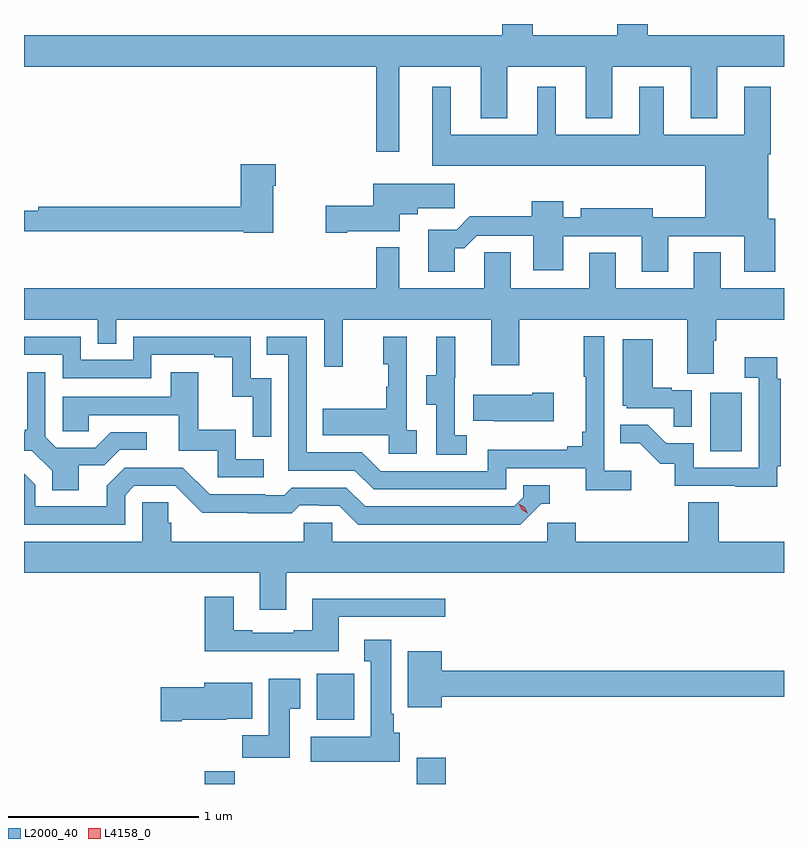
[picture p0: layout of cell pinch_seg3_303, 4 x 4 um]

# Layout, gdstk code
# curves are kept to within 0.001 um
import gdstk
lib = gdstk.Library(unit=1e-6, precision=1e-09)
def R(c, l, rs):  # rectangles x0, y0, x1, y1
    for r in rs: c.add(gdstk.rectangle(r[:2], r[2:], *l))
def P(c, l, *ps):  # polygons
    for p in ps: c.add(gdstk.Polygon(p, *l))
L2000_40 = (2000, 40)
L4158_0 = (4158, 0)

pinch_seg3_303 = lib.new_cell('pinch_seg3_303')
R(pinch_seg3_303, L2000_40, [(953.021,710.46,953.177,710.528), (954.137,710.46,954.29,710.599), (953.609,710.798,953.806,711.04), (955.682,712.212,955.846,712.519)])
P(pinch_seg3_303, L2000_40, [(954.043,714.236),(954.473,714.236),(954.473,713.963),(954.613,713.963),(954.613,714.236),(955.025,714.236),(955.025,713.963),(955.165,713.963),(955.165,714.236),(955.577,714.236),(955.577,713.963),(955.717,713.963),(955.717,714.236),(956.069,714.236),(956.069,714.4),(955.352,714.4),(955.352,714.46),(955.192,714.46),(955.192,714.4),(954.747,714.4),(954.747,714.46),(954.587,714.46),(954.587,714.4),(952.069,714.4),(952.069,714.236),(953.922,714.236),(953.922,713.787),(954.043,713.787)],
  [(954.337,713.279),(954.386,713.279),(954.453,713.346),(954.749,713.346),(954.749,713.165),(954.907,713.165),(954.907,713.343),(955.319,713.342),(955.319,713.157),(955.459,713.157),(955.459,713.343),(955.859,713.343),(955.859,713.157),(956.024,713.157),(956.024,713.436),(955.987,713.436),(955.987,713.774),(956,713.774),(956,714.13),(955.859,714.13),(955.859,713.878),(955.435,713.878),(955.435,714.13),(955.307,714.13),(955.307,713.878),(954.868,713.878),(954.868,714.13),(954.77,714.13),(954.77,713.878),(954.316,713.878),(954.316,714.13),(954.218,714.13),(954.218,713.714),(955.655,713.714),(955.655,713.444),(955.378,713.444),(955.378,713.491),(954.998,713.491),(954.998,713.444),(954.907,713.444),(954.907,713.527),(954.742,713.527),(954.742,713.447),(954.416,713.447),(954.346,713.377),(954.197,713.377),(954.197,713.157),(954.337,713.157)],
  [(953.38,713.609),(953.393,713.609),(953.393,713.722),(953.21,713.722),(953.21,713.498),(952.144,713.498),(952.144,713.478),(952.069,713.478),(952.069,713.37),(953.226,713.37),(953.226,713.362),(953.38,713.362)],
  [(953.77,713.369),(954.046,713.369),(954.046,713.459),(954.142,713.459),(954.142,713.491),(954.337,713.491),(954.337,713.62),(953.906,713.62),(953.906,713.504),(953.658,713.504),(953.658,713.362),(953.77,713.362)],
  [(955.699,712.792),(955.712,712.792),(955.712,712.904),(956.069,712.904),(956.069,713.068),(955.735,713.068),(955.735,713.258),(955.595,713.258),(955.595,713.068),(955.183,713.068),(955.183,713.257),(955.043,713.257),(955.043,713.068),(954.631,713.068),(954.631,713.258),(954.492,713.258),(954.492,713.068),(954.043,713.068),(954.043,713.284),(953.922,713.284),(953.922,713.068),(952.069,713.068),(952.069,712.904),(952.458,712.904),(952.458,712.777),(952.554,712.777),(952.554,712.904),(953.649,712.904),(953.649,712.656),(953.747,712.656),(953.747,712.904),(954.527,712.904),(954.527,712.665),(954.675,712.665),(954.675,712.904),(955.559,712.904),(955.559,712.618),(955.699,712.618)],
  [(955.264,712.108),(955.122,712.108),(955.122,712.816),(955.014,712.816),(955.014,712.603),(955.025,712.603),(955.025,712.315),(955.006,712.315),(955.006,712.238),(954.929,712.238),(954.929,712.219),(954.51,712.219),(954.51,712.107),(953.946,712.107),(953.847,712.206),(953.556,712.206),(953.556,712.815),(953.347,712.815),(953.347,712.719),(953.46,712.719),(953.46,712.11),(953.81,712.11),(953.909,712.011),(954.606,712.011),(954.606,712.122),(955.025,712.122),(955.025,712.006),(955.264,712.006)],
  [(953.37,712.596),(953.262,712.596),(953.262,712.815),(952.644,712.815),(952.644,712.692),(952.368,712.692),(952.368,712.815),(952.069,712.815),(952.069,712.719),(952.272,712.719),(952.272,712.596),(952.74,712.596),(952.74,712.719),(953.069,712.719),(953.069,712.707),(953.165,712.707),(953.165,712.499),(953.274,712.499),(953.274,712.287),(953.37,712.287)],
  [(954.136,712.322),(954.084,712.322),(954.084,712.813),(953.96,712.813),(953.96,712.668),(953.986,712.668),(953.986,712.55),(953.976,712.55),(953.976,712.435),(953.641,712.435),(953.641,712.295),(953.988,712.295),(953.988,712.197),(954.136,712.197)],
  [(954.4,712.295),(954.336,712.295),(954.336,712.599),(954.338,712.599),(954.338,712.813),(954.239,712.813),(954.239,712.611),(954.185,712.611),(954.185,712.456),(954.24,712.456),(954.24,712.192),(954.4,712.192)],
  [(955.584,712.533),(955.478,712.533),(955.478,712.546),(955.378,712.546),(955.378,712.801),(955.22,712.801),(955.22,712.452),(955.242,712.452),(955.242,712.437),(955.489,712.437),(955.489,712.339),(955.584,712.339)],
  [(956.033,712.132),(956.051,712.132),(956.051,712.592),(956.033,712.592),(956.033,712.705),(955.863,712.705),(955.863,712.599),(955.935,712.599),(955.935,712.125),(955.593,712.125),(955.593,712.254),(955.449,712.254),(955.351,712.352),(955.207,712.352),(955.207,712.253),(955.311,712.253),(955.418,712.146),(955.495,712.146),(955.495,712.029),(955.813,712.029),(955.813,712.024),(956.033,712.024)],
  [(953.332,712.17),(953.184,712.17),(953.184,712.324),(952.985,712.324),(952.985,712.627),(952.841,712.627),(952.841,712.497),(952.272,712.497),(952.272,712.317),(952.409,712.317),(952.409,712.401),(952.883,712.401),(952.883,712.215),(953.088,712.215),(953.088,712.074),(953.332,712.074)],
  [(952.357,712.138),(952.492,712.138),(952.572,712.218),(952.714,712.218),(952.714,712.311),(952.526,712.311),(952.445,712.23),(952.239,712.23),(952.182,712.287),(952.182,712.627),(952.085,712.627),(952.085,712.324),(952.074,712.324),(952.074,712.312),(952.069,712.312),(952.069,712.215),(952.11,712.215),(952.217,712.108),(952.217,712.006),(952.357,712.006)],
  [(954.856,712.518),(954.743,712.518),(954.743,712.51),(954.433,712.51),(954.433,712.373),(954.541,712.373),(954.541,712.37),(954.856,712.37)],
  [(952.602,711.981),(952.65,712.029),(952.866,712.029),(953.008,711.887),(953.244,711.887),(953.244,711.885),(953.477,711.885),(953.519,711.927),(953.622,711.927),(953.622,711.924),(953.729,711.924),(953.828,711.825),(954.681,711.825),(954.792,711.936),(954.835,711.936),(954.835,712.032),(954.696,712.032),(954.696,711.969),(954.648,711.921),(953.865,711.921),(953.766,712.02),(953.477,712.02),(953.438,711.981),(953.339,711.981),(953.339,711.984),(953.046,711.984),(952.905,712.125),(952.599,712.125),(952.505,712.031),(952.505,711.921),(952.128,711.921),(952.128,712.035),(952.069,712.094),(952.069,711.825),(952.602,711.825)],
  [(953.449,711.572),(956.069,711.572),(956.069,711.736),(955.725,711.736),(955.725,711.944),(955.565,711.944),(955.565,711.736),(954.974,711.736),(954.974,711.834),(954.822,711.834),(954.822,711.736),(953.691,711.736),(953.691,711.834),(953.541,711.834),(953.541,711.736),(952.844,711.736),(952.844,711.834),(952.829,711.834),(952.829,711.944),(952.692,711.944),(952.692,711.736),(952.069,711.736),(952.069,711.572),(953.309,711.572),(953.309,711.378),(953.449,711.378)],
  [(953.725,711.339),(954.286,711.339),(954.286,711.436),(953.585,711.436),(953.585,711.268),(953.489,711.268),(953.489,711.255),(953.269,711.255),(953.269,711.268),(953.173,711.268),(953.173,711.445),(953.021,711.445),(953.021,711.158),(953.725,711.158)],
  [(954.046,710.73),(954.016,710.73),(954.016,710.83),(954.001,710.83),(954.001,711.22),(953.861,711.22),(953.861,711.107),(953.894,711.107),(953.894,710.71),(953.577,710.71),(953.577,710.576),(954.046,710.576)],
  [(954.268,710.92),(956.069,710.92),(956.069,711.056),(954.268,711.056),(954.268,711.16),(954.089,711.16),(954.089,710.864),(954.268,710.864)],
  [(953.467,710.857),(953.524,710.857),(953.524,711.013),(953.357,711.013),(953.357,710.716),(953.218,710.716),(953.218,710.598),(953.467,710.598)],
  [(952.9,710.798),(953.136,710.798),(953.136,710.804),(953.269,710.804),(953.269,710.992),(953.018,710.992),(953.018,710.969),(952.788,710.969),(952.788,710.791),(952.9,710.791)])
P(pinch_seg3_303, L4158_0, [(954.721,711.884),(954.69,711.903),(954.673,711.936),(954.673,711.936),(954.673,711.936),(954.704,711.917),(954.721,711.884),(954.721,711.884)])

lib.write_gds('pinch_seg3_303.gds')
